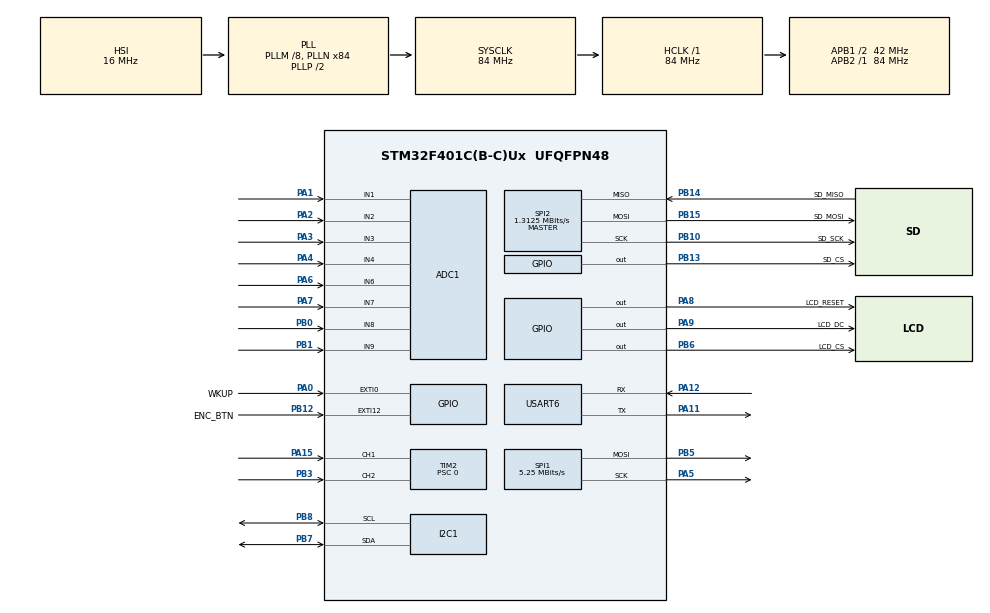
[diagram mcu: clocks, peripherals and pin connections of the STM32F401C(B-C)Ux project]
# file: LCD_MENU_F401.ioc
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ADC1.Channel-1\#ChannelRegularConversion=ADC_CHANNEL_1
ADC1.Channel-2\#ChannelRegularConversion=ADC_CHANNEL_2
ADC1.Channel-3\#ChannelRegularConversion=ADC_CHANNEL_3
ADC1.Channel-4\#ChannelRegularConversion=ADC_CHANNEL_4
ADC1.Channel-5\#ChannelRegularConversion=ADC_CHANNEL_6
ADC1.Channel-6\#ChannelRegularConversion=ADC_CHANNEL_7
ADC1.Channel-7\#ChannelRegularConversion=ADC_CHANNEL_8
ADC1.Channel-8\#ChannelRegularConversion=ADC_CHANNEL_9
ADC1.ClockPrescaler=ADC_CLOCK_SYNC_PCLK_DIV8
ADC1.ContinuousConvMode=ENABLE
ADC1.DMAContinuousRequests=ENABLE
ADC1.NbrOfConversion=8
ADC1.NbrOfConversionFlag=1
ADC1.Rank-1\#ChannelRegularConversion=1
ADC1.Rank-2\#ChannelRegularConversion=2
ADC1.Rank-3\#ChannelRegularConversion=3
ADC1.Rank-4\#ChannelRegularConversion=4
ADC1.Rank-5\#ChannelRegularConversion=5
ADC1.Rank-6\#ChannelRegularConversion=6
ADC1.Rank-7\#ChannelRegularConversion=7
ADC1.Rank-8\#ChannelRegularConversion=8
ADC1.SamplingTime-1\#ChannelRegularConversion=ADC_SAMPLETIME_480CYCLES
ADC1.SamplingTime-2\#ChannelRegularConversion=ADC_SAMPLETIME_480CYCLES
ADC1.SamplingTime-3\#ChannelRegularConversion=ADC_SAMPLETIME_480CYCLES
ADC1.SamplingTime-4\#ChannelRegularConversion=ADC_SAMPLETIME_480CYCLES
ADC1.SamplingTime-5\#ChannelRegularConversion=ADC_SAMPLETIME_480CYCLES
ADC1.SamplingTime-6\#ChannelRegularConversion=ADC_SAMPLETIME_480CYCLES
ADC1.SamplingTime-7\#ChannelRegularConversion=ADC_SAMPLETIME_480CYCLES
ADC1.SamplingTime-8\#ChannelRegularConversion=ADC_SAMPLETIME_480CYCLES
ADC1.ScanConvMode=ENABLE
ADC1.master=1
Dma.ADC1.1.Direction=DMA_PERIPH_TO_MEMORY
Dma.ADC1.1.FIFOMode=DMA_FIFOMODE_DISABLE
Dma.ADC1.1.Instance=DMA2_Stream0
Dma.ADC1.1.MemDataAlignment=DMA_MDATAALIGN_HALFWORD
Dma.ADC1.1.MemInc=DMA_MINC_ENABLE
Dma.ADC1.1.Mode=DMA_CIRCULAR
Dma.ADC1.1.PeriphDataAlignment=DMA_PDATAALIGN_HALFWORD
Dma.ADC1.1.PeriphInc=DMA_PINC_DISABLE
Dma.ADC1.1.Priority=DMA_PRIORITY_LOW
Dma.Request0=SPI1_TX
Dma.Request1=ADC1
Dma.SPI1_TX.0.Direction=DMA_MEMORY_TO_PERIPH
Dma.SPI1_TX.0.FIFOMode=DMA_FIFOMODE_DISABLE
Dma.SPI1_TX.0.Instance=DMA2_Stream3
Dma.SPI1_TX.0.MemDataAlignment=DMA_MDATAALIGN_BYTE
Dma.SPI1_TX.0.MemInc=DMA_MINC_ENABLE
Dma.SPI1_TX.0.Mode=DMA_NORMAL
Dma.SPI1_TX.0.PeriphDataAlignment=DMA_PDATAALIGN_BYTE
Dma.SPI1_TX.0.PeriphInc=DMA_PINC_DISABLE
Dma.SPI1_TX.0.Priority=DMA_PRIORITY_LOW
FATFS._CODE_PAGE=850
Mcu.Family=STM32F4
Mcu.Name=STM32F401C(B-C)Ux
Mcu.Package=UFQFPN48
NVIC.DMA2_Stream3_IRQn=true\:0\:0\:false\:false\:true\:false\:true
NVIC.EXTI0_IRQn=true\:2\:0\:true\:false\:true\:true\:true
NVIC.EXTI15_10_IRQn=true\:8\:0\:true\:false\:true\:true\:true
NVIC.PriorityGroup=NVIC_PRIORITYGROUP_4
PA0-WKUP.GPIO_Label=WKUP
PA0-WKUP.GPIO_ModeDefaultEXTI=GPIO_MODE_IT_FALLING
PA0-WKUP.GPIO_PuPd=GPIO_PULLUP
PA0-WKUP.Signal=GPXTI0
PA1.Signal=ADCx_IN1
PA11.Mode=Asynchronous
PA11.Signal=USART6_TX
PA12.Mode=Asynchronous
PA12.Signal=USART6_RX
PA15.Signal=S_TIM2_CH1_ETR
PA2.Signal=ADCx_IN2
PA3.Signal=ADCx_IN3
PA4.Signal=ADCx_IN4
PA5.Mode=TX_Only_Simplex_Unidirect_Master
PA5.Signal=SPI1_SCK
PA6.Signal=ADCx_IN6
PA7.Signal=ADCx_IN7
PA8.GPIO_Label=LCD_RESET
PA8.Signal=GPIO_Output
PA9.GPIO_Label=LCD_DC
PA9.Signal=GPIO_Output
PB0.Signal=ADCx_IN8
PB1.Signal=ADCx_IN9
PB10.GPIO_Label=SD_SCK
PB10.Mode=Full_Duplex_Master
PB10.Signal=SPI2_SCK
PB12.GPIO_Label=ENC_BTN
PB12.GPIO_ModeDefaultEXTI=GPIO_MODE_IT_RISING
PB12.GPIO_PuPd=GPIO_PULLUP
PB12.Signal=GPXTI12
PB13.GPIO_Label=SD_CS
PB13.Signal=GPIO_Output
PB14.GPIO_Label=SD_MISO
PB14.Mode=Full_Duplex_Master
PB14.Signal=SPI2_MISO
PB15.GPIO_Label=SD_MOSI
PB15.Mode=Full_Duplex_Master
PB15.Signal=SPI2_MOSI
PB3.Signal=S_TIM2_CH2
PB5.Mode=TX_Only_Simplex_Unidirect_Master
PB5.Signal=SPI1_MOSI
PB6.GPIO_Label=LCD_CS
PB6.Signal=GPIO_Output
PB7.GPIO_Pu=GPIO_PULLUP
PB7.Mode=I2C
PB7.Signal=I2C1_SDA
PB8.GPIO_Pu=GPIO_PULLUP
PB8.Mode=I2C
PB8.Signal=I2C1_SCL
PC14-OSC32_IN.Mode=LSE-External-Oscillator
PC14-OSC32_IN.Signal=RCC_OSC32_IN
PC15-OSC32_OUT.Mode=LSE-External-Oscillator
PC15-OSC32_OUT.Signal=RCC_OSC32_OUT
PH0\ -\ OSC_IN.Mode=HSE-External-Oscillator
PH0\ -\ OSC_IN.Signal=RCC_OSC_IN
PH1\ -\ OSC_OUT.Mode=HSE-External-Oscillator
PH1\ -\ OSC_OUT.Signal=RCC_OSC_OUT
ProjectManager.HeapSize=0x400
ProjectManager.StackSize=0x2000
ProjectManager.TargetToolchain=STM32CubeIDE
RCC.48MHZClocksFreq_Value=42000000
RCC.AHBFreq_Value=84000000
RCC.APB1CLKDivider=RCC_HCLK_DIV2
RCC.APB1Freq_Value=42000000
RCC.APB1TimFreq_Value=84000000
RCC.APB2Freq_Value=84000000
RCC.APB2TimFreq_Value=84000000
RCC.CortexFreq_Value=84000000
RCC.HCLKFreq_Value=84000000
RCC.HSE_VALUE=25000000
RCC.HSI_VALUE=16000000
RCC.PLLM=8
RCC.PLLN=84
RCC.SYSCLKFreq_VALUE=84000000
RCC.SYSCLKSource=RCC_SYSCLKSOURCE_PLLCLK
RCC.VCOOutputFreq_Value=168000000
SH.ADCx_IN1.0=ADC1_IN1,IN1
SH.ADCx_IN2.0=ADC1_IN2,IN2
SH.ADCx_IN3.0=ADC1_IN3,IN3
SH.ADCx_IN4.0=ADC1_IN4,IN4
SH.ADCx_IN6.0=ADC1_IN6,IN6
SH.ADCx_IN7.0=ADC1_IN7,IN7
SH.ADCx_IN8.0=ADC1_IN8,IN8
SH.ADCx_IN9.0=ADC1_IN9,IN9
SH.S_TIM2_CH1_ETR.0=TIM2_CH1,Encoder_Interface
SH.S_TIM2_CH2.0=TIM2_CH2,Encoder_Interface
SPI1.BaudRatePrescaler=SPI_BAUDRATEPRESCALER_16
SPI1.CalculateBaudRate=5.25 MBits/s
SPI1.Direction=SPI_DIRECTION_2LINES
SPI1.Mode=SPI_MODE_MASTER
SPI1.VirtualType=VM_MASTER
SPI2.BaudRatePrescaler=SPI_BAUDRATEPRESCALER_32
SPI2.CalculateBaudRate=1.3125 MBits/s
SPI2.Direction=SPI_DIRECTION_2LINES
SPI2.Mode=SPI_MODE_MASTER
SPI2.VirtualType=VM_MASTER
TIM2.ClockDivision=TIM_CLOCKDIVISION_DIV1
TIM2.EncoderMode=TIM_ENCODERMODE_TI1
TIM2.IC1Filter=0
TIM2.IC1Prescaler=TIM_ICPSC_DIV1
TIM2.IC2Filter=0
TIM2.IC2Prescaler=TIM_ICPSC_DIV1
TIM2.Period=39
TIM2.Prescaler=0
USART6.VirtualMode=VM_ASYNC
VP_FATFS_VS_Generic.Mode=User_defined
VP_RTC_VS_RTC_Activate.Mode=RTC_Enabled
board=custom

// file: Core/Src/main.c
/* USER CODE BEGIN Header */
/**
 ******************************************************************************
 * @file           : main.c
 * @brief          : Main program body
 ******************************************************************************
 * @attention
 *
 * <h2><center>&copy; Copyright (c) 2021 STMicroelectronics.
 * All rights reserved.</center></h2>
 *
 * This software component is licensed by ST under BSD 3-Clause license,
 * the "License"; You may not use this file except in compliance with the
 * License. You may obtain a copy of the License at:
 *                        opensource.org/licenses/BSD-3-Clause
 *
 ******************************************************************************
 */
/* USER CODE END Header */
#include "main.h"
#include "adc.h"
#include "dma.h"
#include "fatfs.h"
#include "i2c.h"
#include "rtc.h"
#include "spi.h"
#include "tim.h"
#include "usart.h"
#include "gpio.h"

/* USER CODE BEGIN Includes */
#include <stdio.h>
#include "rgb565.h"
#include "font6x9.h"
#include "hagl.h"
#include "menu.h"
#include "fatfs_sd.h"
#include "string.h"
#include "stdio.h"
#include "sdcard.h"
/* USER CODE END Includes */

/* USER CODE BEGIN PTD */
int __io_putchar(int ch) {
	if (ch == '\n') {
		__io_putchar('\r');
	}

	HAL_UART_Transmit(&huart6, (uint8_t*) &ch, 1, HAL_MAX_DELAY);

	return 1;
}
/* USER CODE END PTD */

/* USER CODE BEGIN PV */
//volatile int16_t currentMenuIndex = 0;
volatile int16_t menuMaxIndex = MAX_MAIN_MENU_INDEX; //max number of selectable items on screen - menu
volatile uint8_t encoderBtnFlag;	//flag for button interrupt
uint8_t previousItem;		//needed for correct display of selected menu item
uint8_t currentItem;

volatile uint8_t activeScreen = 0;	//curent screen that is being shown

uint8_t activeChannels = 4;
uint8_t oversamplingPrescaler = 1;

char debug_text[25]; //bottom line text, just for debug
uint16_t sensor_data[8];			//raw adc data
uint16_t summed_data[8];			//accu for adc data, needed for oversampling
uint16_t averaged_data[8];			//averaged adc data

uint8_t datetime[12] = { 2, 0, 2, 1, 1, 2, 1, 5, 1, 7, 5, 9 }; //template datetime
uint8_t datetimeIndex;
uint8_t mounted = 0;
/* USER CODE END PV */

void SystemClock_Config(void);

int main(void)
{

  /* MCU Configuration--------------------------------------------------------*/

  /* Reset of all peripherals, Initializes the Flash interface and the Systick. */
  HAL_Init();

  /* Configure the system clock */
  SystemClock_Config();

  /* Initialize all configured peripherals */
  MX_GPIO_Init();
  MX_DMA_Init();
  MX_SPI1_Init();
  MX_ADC1_Init();
  MX_I2C1_Init();
  MX_RTC_Init();
  MX_SPI2_Init();
  MX_TIM2_Init();
  MX_USART6_UART_Init();
  MX_FATFS_Init();
  /* USER CODE BEGIN 2 */
	printf("Starting..\n");

	HAL_ADC_Start_DMA(&hadc1, (uint32_t*) sensor_data,
			sizeof(sensor_data) / sizeof(int16_t));
	HAL_TIM_Encoder_Start(&htim2, TIM_CHANNEL_ALL);
	lcd_init();
//	FATFS fs;
//	FRESULT fresult;
//	fresult = f_mount(&fs, "/", 1);
//	if (fresult != FR_OK) printf("ERROR!!! in mounting SD CARD...\n\n");
//	else printf("SD CARD mounted successfully...\n\n");
  /* USER CODE END 2 */

  /* Infinite loop */
  /* USER CODE BEGIN WHILE */
	while (1) {
		//************************CHANGING SCREENS************************
		switch (activeScreen) {
		case 0:  //ADC data screen
			for (int currentIter = 0; currentIter < oversamplingPrescaler;
					++currentIter) {
				for (int currentChan = 0; currentChan < activeChannels;
						++currentChan) {
					summed_data[currentChan] += sensor_data[currentChan];
					assert_param(summed_data[currentChan] <= UINT16_MAX);
				}
				HAL_Delay(50);
			}
			for (int var = 0; var < activeChannels; ++var) {
				averaged_data[var] = summed_data[var] / oversamplingPrescaler;
				summed_data[var] = 0;
			}
			show_sensor_data(averaged_data, activeChannels);
			if (mounted)
				sd_card_update_file("POMIARY.txt", averaged_data);
			HAL_Delay(1000);
			printf("Sensor data case executed.\n");
			fflush(stdout);
			break;
		case 1:  //main menu screen
			currentItem = (__HAL_TIM_GET_COUNTER(&htim2) >> 1) % menuMaxIndex;
			assert(currentItem <= menuMaxIndex - 1);
			show_main_menu();
			select_item(previousItem, currentItem);
			if (previousItem != currentItem) {
				previousItem = currentItem;
			}
			printf("Main menu case executed..\n");
			fflush(stdout);
			break;
		case 11:  //active channels selection screen
			activeChannels = __HAL_TIM_GET_COUNTER(&htim2) >> 1;
			if (activeChannels < 1) {
				activeChannels = 1;
				__HAL_TIM_SET_COUNTER(&htim2, 2);
			}
			if (activeChannels > 8) {
				activeChannels = 8;
				__HAL_TIM_SET_COUNTER(&htim2, 16);
			}
			set_channels_value(activeChannels, rgb565(200, 200, 200));
			printf("Active channels case executed..\n");
			fflush(stdout);
			break;
		case 12:  //oversampling selection screen
			oversamplingPrescaler = __HAL_TIM_GET_COUNTER(&htim2) >> 1;
			if (oversamplingPrescaler < 1) {
				oversamplingPrescaler = 1;
				__HAL_TIM_SET_COUNTER(&htim2, 2);
			}
			if (oversamplingPrescaler > 15) {
				oversamplingPrescaler = 15;
				__HAL_TIM_SET_COUNTER(&htim2, 30); //encoder counts up to 19 so 19*2 is max available value rn
			}
			set_oversampling_prescaler(oversamplingPrescaler,
					rgb565(220, 220, 220));
			printf("Oversampling case executed...\n");
			fflush(stdout);
			break;
		case 14:
			currentItem = (__HAL_TIM_GET_COUNTER(&htim2) >> 1) % menuMaxIndex;
			assert(currentItem <= menuMaxIndex - 1);
			show_misc_menu();
			select_item(previousItem, currentItem);
			if (previousItem != currentItem) {
				previousItem = currentItem;
			}
			break;
		case 41:
			currentItem = __HAL_TIM_GET_COUNTER(&htim2) >> 1;
			switch (datetimeIndex) {
			//2021 12 26 23 59
			case 0:
				datetime[datetimeIndex] = currentItem % 10;
				if (datetime[datetimeIndex] < 1) {
					datetime[datetimeIndex] = 1;
					__HAL_TIM_GET_COUNTER(&htim2) = 1 * 2;
				}
				if (datetime[datetimeIndex] > 2) {
					datetime[datetimeIndex] = 2;
					__HAL_TIM_GET_COUNTER(&htim2) = 2 * 2;
				}
				break;
			case 4: //month1
				datetime[datetimeIndex] = currentItem % 10;
				if (datetime[datetimeIndex] > 1) {
					datetime[datetimeIndex] = 1;
					__HAL_TIM_GET_COUNTER(&htim2) = 1 * 2;
				}
				break;
			case 5: //month2
				datetime[datetimeIndex] = currentItem % 10;
				if (datetime[datetimeIndex - 1] == 1) {
					if (datetime[datetimeIndex] > 2) {
						datetime[datetimeIndex] = 2; //for 10,11,12
						__HAL_TIM_GET_COUNTER(&htim2) = 2 * 2;
					}
				} else if (datetime[datetimeIndex - 1] == 0) {
					if (datetime[datetimeIndex] < 1) {
						datetime[datetimeIndex] = 1; //for 01,02,03,04,05,06,07,08,09
						__HAL_TIM_GET_COUNTER(&htim2) = 1 * 2;
					}
				}
				break;
			case 6: //day1
				datetime[datetimeIndex] = currentItem % 10;
				if (datetime[datetimeIndex] > 3) {
					datetime[datetimeIndex] = 3;
					__HAL_TIM_GET_COUNTER(&htim2) = 3 * 2;
				}
				break;
			case 7: //day2
				datetime[datetimeIndex] = currentItem % 10;
				if (datetime[datetimeIndex - 1] == 3) {
					if (datetime[datetimeIndex] > 1) {
						datetime[datetimeIndex] = 1; //for 30,31
						__HAL_TIM_GET_COUNTER(&htim2) = 1 * 2;
					}
				} else if (datetime[datetimeIndex - 1] == 0) {
					if (datetime[datetimeIndex] < 1) {
						datetime[datetimeIndex] = 1; //for 01,02,03,04,05,06,07,08,09
						__HAL_TIM_GET_COUNTER(&htim2) = 1 * 2;
					}
				}
				break;
			case 8: //hour1
				datetime[datetimeIndex] = currentItem % 10;
				if (datetime[datetimeIndex] > 2) {
					datetime[datetimeIndex] = 2;
					__HAL_TIM_GET_COUNTER(&htim2) = 2 * 2;
				}
				break;
			case 9: //hour2
				datetime[datetimeIndex] = currentItem % 10;
				if (datetime[datetimeIndex - 1] == 2) {
					if (datetime[datetimeIndex] > 3) {
						datetime[datetimeIndex] = 3; //for 20,21,22,23
						__HAL_TIM_GET_COUNTER(&htim2) = 3 * 2;
					}
				}
				break;
			case 10: //minute1
				datetime[datetimeIndex] = currentItem % 10;
				if (datetime[datetimeIndex] > 5) {
					datetime[datetimeIndex] = 5;
					__HAL_TIM_GET_COUNTER(&htim2) = 5 * 2;
				}
				break;
			default:
				datetime[datetimeIndex] = currentItem % 10;
				break;
			}
			set_datetime_screen(datetimeIndex, datetime);
			break;
		case 42:
			show_sd_card_info();
			break;
		}
		//************************CHANGING SCREENS************************
		if (encoderBtnFlag) {
			encoderBtnFlag = 0;
			switch (activeScreen) {
			case 0: //sensor to menu
				__HAL_TIM_SET_COUNTER(&htim2, 0);
				activeScreen = 1;
				menuMaxIndex = MAX_MAIN_MENU_INDEX;
				break;
			case 1:	//menu to ...
				//menu to sensor
				if (currentItem == (menuMaxIndex - 1)) {
					activeScreen = 0;
					break;
				}
				//menu to activechannels
				else if (currentItem == 0) {
					__HAL_TIM_GET_COUNTER(&htim2) = activeChannels * 2; //you can't assign value to shifted value, hence no >> is used, silly me tried..
					activeScreen = 11;
					break;
				} else if (currentItem == 1) { //menu to oversampling
					__HAL_TIM_GET_COUNTER(&htim2) = oversamplingPrescaler * 2; //you can't assign value to shifted value, hence no >> is used, silly me tried..
					activeScreen = 12;
					break;
				} else if (currentItem == 3) { //menu to misc
					activeScreen = 14;
					__HAL_TIM_GET_COUNTER(&htim2) = 0;
					menuMaxIndex = MAX_MISC_MENU_INDEX;
					break;
				}
			case 11: //channels to main menu
				__HAL_TIM_GET_COUNTER(&htim2) = 0;
				activeScreen = 1;
				break;
			case 12: //sampling to main menu
				__HAL_TIM_GET_COUNTER(&htim2) = 0;
				activeScreen = 1;
				break;
			case 14: //misc menu to main menu
				if (currentItem == (menuMaxIndex - 1)) {
					menuMaxIndex = MAX_MAIN_MENU_INDEX;
					__HAL_TIM_GET_COUNTER(&htim2) = 0;
					activeScreen = 1;
					break;
				}
				if (currentItem == 0) {
					datetimeIndex = 0;
					__HAL_TIM_GET_COUNTER(&htim2) = 0;
					activeScreen = 41; //switch to datetime screen
					break;
				}
				if (currentItem == 1){
					activeScreen = 42; //switch to SD card info
					break;
				}
				if (currentItem == 2){
					sd_card_mount();
					sd_card_basic_write_to_file("POMIARY.txt");
					mounted = 1;
					break;
				}
				if (currentItem == 3){
					sd_card_unmount();
					mounted = 0;
					break;
				}
			case 41: //set datetime to misc menu
				//iterate over each symbol 2021-12-20 17:56 - 12 symbols to iterate through
				while (datetimeIndex >= 11) {
					activeScreen = 14;
					datetimeIndex = 0;
				}
				datetimeIndex++;
				__HAL_TIM_GET_COUNTER(&htim2) = 0;
				break;
			case 42:
				__HAL_TIM_GET_COUNTER(&htim2) = 0;
				activeScreen = 14;
				break;
			default:
				break;
			}
			printf("Button interrupt executed....\n");
			fflush(stdout);
		}

		snprintf(debug_text, 25, "MENU:%u | active:%d", currentItem,
				activeScreen);
		hagl_put_text(debug_text, 10, 145, rgb565(245, 245, 255), font6x9);
		lcd_copy();
		printf("Main while loop executed.............................\n");
		fflush(stdout);
		HAL_Delay(100);
	}

    /* USER CODE END WHILE */

}

void SystemClock_Config(void)
{
  RCC_OscInitTypeDef RCC_OscInitStruct = {0};
  RCC_ClkInitTypeDef RCC_ClkInitStruct = {0};

  /** Configure the main internal regulator output voltage
  */
  __HAL_RCC_PWR_CLK_ENABLE();
  __HAL_PWR_VOLTAGESCALING_CONFIG(PWR_REGULATOR_VOLTAGE_SCALE2);
  /** Initializes the RCC Oscillators according to the specified parameters
  * in the RCC_OscInitTypeDef structure.
  */
  RCC_OscInitStruct.OscillatorType = RCC_OSCILLATORTYPE_HSI|RCC_OSCILLATORTYPE_LSI;
  RCC_OscInitStruct.HSIState = RCC_HSI_ON;
  RCC_OscInitStruct.HSICalibrationValue = RCC_HSICALIBRATION_DEFAULT;
  RCC_OscInitStruct.LSIState = RCC_LSI_ON;
  RCC_OscInitStruct.PLL.PLLState = RCC_PLL_ON;
  RCC_OscInitStruct.PLL.PLLSource = RCC_PLLSOURCE_HSI;
  RCC_OscInitStruct.PLL.PLLM = 8;
  RCC_OscInitStruct.PLL.PLLN = 84;
  RCC_OscInitStruct.PLL.PLLP = RCC_PLLP_DIV2;
  RCC_OscInitStruct.PLL.PLLQ = 4;
  if (HAL_RCC_OscConfig(&RCC_OscInitStruct) != HAL_OK)
  {
    Error_Handler();
  }
  /** Initializes the CPU, AHB and APB buses clocks
  */
  RCC_ClkInitStruct.ClockType = RCC_CLOCKTYPE_HCLK|RCC_CLOCKTYPE_SYSCLK
                              |RCC_CLOCKTYPE_PCLK1|RCC_CLOCKTYPE_PCLK2;
  RCC_ClkInitStruct.SYSCLKSource = RCC_SYSCLKSOURCE_PLLCLK;
  RCC_ClkInitStruct.AHBCLKDivider = RCC_SYSCLK_DIV1;
  RCC_ClkInitStruct.APB1CLKDivider = RCC_HCLK_DIV2;
  RCC_ClkInitStruct.APB2CLKDivider = RCC_HCLK_DIV1;

  if (HAL_RCC_ClockConfig(&RCC_ClkInitStruct, FLASH_LATENCY_2) != HAL_OK)
  {
    Error_Handler();
  }
}

/* USER CODE BEGIN 4 */
void HAL_SPI_TxCpltCallback(SPI_HandleTypeDef *hspi) {
	if (hspi == &hspi1) {
		lcd_transfer_done();
	}
}

void HAL_GPIO_EXTI_Callback(uint16_t GPIO_Pin) {
	if (GPIO_Pin == ENC_BTN_Pin) {
		HAL_Delay(50); //basic debounce
		while (HAL_GPIO_ReadPin(ENC_BTN_GPIO_Port, ENC_BTN_Pin)
				== GPIO_PIN_RESET) {

		}
		encoderBtnFlag = 1;
	}
}

/* USER CODE END 4 */

void Error_Handler(void)
{
	__disable_irq();
	while (1) {
	}
}

/************************ (C) COPYRIGHT STMicroelectronics *****END OF FILE****/
